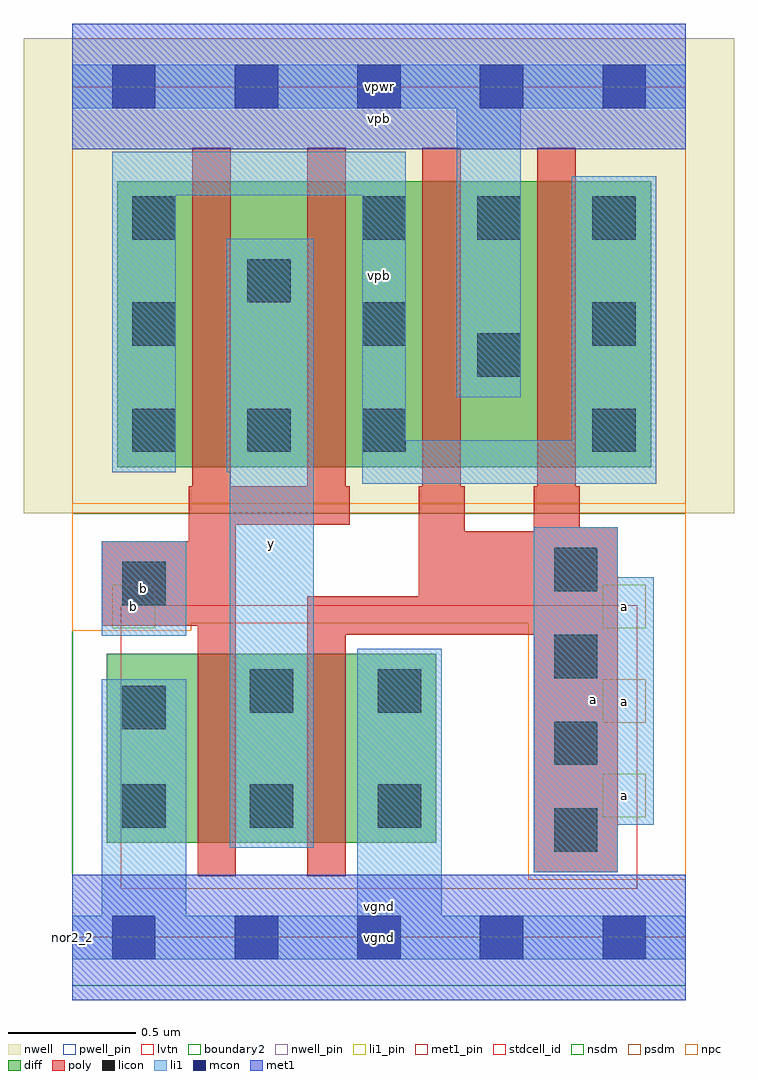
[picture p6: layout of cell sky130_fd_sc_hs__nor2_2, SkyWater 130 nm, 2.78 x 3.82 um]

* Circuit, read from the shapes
.subckt sky130_fd_sc_hs__nor2_2 a b vgnd vnb vpb vpwr y
XM1 y b vgnd vnb sky130_fd_pr__nfet_01v8_lvt w=0.74 l=0.15
XM2 vgnd a y vnb sky130_fd_pr__nfet_01v8_lvt w=0.74 l=0.15
XM3 y b n1 vpb sky130_fd_pr__pfet_01v8 w=1.12 l=0.15 m=2
XM4 vpwr a n1 vpb sky130_fd_pr__pfet_01v8 w=1.12 l=0.15 m=2
.ends

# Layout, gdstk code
import gdstk
lib = gdstk.Library(unit=1e-6, precision=1e-09)
def R(c, l, rs):  # rectangles x0, y0, x1, y1
    for r in rs: c.add(gdstk.rectangle(r[:2], r[2:], *l))
def A(c, l, x, y, w, h, nx, ny, dx, dy):  # array of equal rectangles
    R(c, l, [(x+i*dx, y+j*dy, x+i*dx+w, y+j*dy+h) for i in range(nx) for j in range(ny)])
def P(c, l, *ps):  # polygons
    for p in ps: c.add(gdstk.Polygon(p, *l))
nwell_pin = (64, 16)
nwell = (64, 20)
diff = (65, 20)
poly = (66, 20)
licon = (66, 44)
li1_pin = (67, 16)
li1 = (67, 20)
mcon = (67, 44)
met1_pin = (68, 16)
met1 = (68, 20)
stdcell_id = (81, 4)
nsdm = (93, 44)
psdm = (94, 20)
npc = (95, 20)
pwell_pin = (122, 16)
lvtn = (125, 44)
boundary2 = (236, 0)

sky130_fd_sc_hs__nor2_2 = lib.new_cell('sky130_fd_sc_hs__nor2_2')
R(sky130_fd_sc_hs__nor2_2, nwell_pin, [(0,3.085,2.4,3.33)])
R(sky130_fd_sc_hs__nor2_2, nwell, [(-0.19,1.66,2.59,3.52)])
R(sky130_fd_sc_hs__nor2_2, diff, [(0.135,0.37,1.425,1.11), (0.175,1.84,2.265,2.96)])
P(sky130_fd_sc_hs__nor2_2, poly, [(0.92,0.24),(0.92,1.335),(1.355,1.335),(1.355,1.765),(1.37,1.765),(1.37,3.09),(1.52,3.09),(1.52,1.765),(1.535,1.765),(1.535,1.59),(1.805,1.59),(1.805,1.765),(1.82,1.765),(1.82,3.09),(1.97,3.09),(1.97,1.765),(1.985,1.765),(1.985,1.605),(2.135,1.605),(2.135,0.255),(1.805,0.255),(1.805,1.185),(1.07,1.185),(1.07,0.24)],
  [(0.49,0.24),(0.49,1.22),(0.115,1.22),(0.115,1.55),(0.455,1.55),(0.455,1.765),(0.47,1.765),(0.47,3.09),(0.62,3.09),(0.62,1.765),(0.92,1.765),(0.92,3.09),(1.07,3.09),(1.07,1.765),(1.085,1.765),(1.085,1.615),(0.64,1.615),(0.64,0.24)])
A(sky130_fd_sc_hs__nor2_2, licon, 1.885, 0.335, 0.17, 0.17, 1, 4, 0, 0.34)
A(sky130_fd_sc_hs__nor2_2, licon, 0.195, 0.43, 0.17, 0.17, 3, 1, 0.5, 0)
A(sky130_fd_sc_hs__nor2_2, licon, 0.235, 1.9, 0.17, 0.17, 3, 1, 0.45, 0)
A(sky130_fd_sc_hs__nor2_2, licon, 0.235, 2.315, 0.17, 0.17, 3, 1, 0.9, 0)
A(sky130_fd_sc_hs__nor2_2, licon, 1.135, 2.73, 0.17, 0.17, 3, 1, 0.45, 0)
R(sky130_fd_sc_hs__nor2_2, licon, [(0.195,0.815,0.365,0.985), (0.695,0.88,0.865,1.05), (1.195,0.88,1.365,1.05), (0.195,1.3,0.365,1.47), (2.035,1.9,2.205,2.07), (1.585,2.195,1.755,2.365), (0.685,2.485,0.855,2.655), (0.235,2.73,0.405,2.9)])
A(sky130_fd_sc_hs__nor2_2, li1_pin, 2.075, 0.47, 0.17, 0.17, 1, 3, 0, 0.37)
R(sky130_fd_sc_hs__nor2_2, li1_pin, [(0.615,0.35,0.945,2.735), (0.155,1.21,0.325,1.38)])
R(sky130_fd_sc_hs__nor2_2, li1, [(0.115,1.18,0.445,1.55)])
P(sky130_fd_sc_hs__nor2_2, li1, [(0,-0.085),(0,0.085),(0.115,0.085),(0.115,1.01),(0.445,1.01),(0.445,0.085),(1.115,0.085),(1.115,1.13),(1.445,1.13),(1.445,0.085),(2.4,0.085),(2.4,-0.085)],
  [(1.505,2.115),(1.505,3.245),(0,3.245),(0,3.415),(2.4,3.415),(2.4,3.245),(1.755,3.245),(1.755,2.115)],
  [(0.615,0.35),(0.615,1.82),(0.605,1.82),(0.605,2.735),(0.945,2.735),(0.945,0.35)],
  [(1.805,0.255),(1.805,1.605),(2.135,1.605),(2.135,1.41),(2.275,1.41),(2.275,0.44),(2.135,0.44),(2.135,0.255)],
  [(1.135,1.775),(1.135,2.905),(0.405,2.905),(0.405,1.82),(0.155,1.82),(0.155,3.075),(1.305,3.075),(1.305,1.945),(1.955,1.945),(1.955,2.98),(2.285,2.98),(2.285,1.775)])
A(sky130_fd_sc_hs__nor2_2, mcon, 0.155, -0.085, 0.17, 0.17, 5, 2, 0.48, 3.33)
R(sky130_fd_sc_hs__nor2_2, met1_pin, [(0,0,2.4,0.245), (0,3.085,2.4,3.33)])
R(sky130_fd_sc_hs__nor2_2, met1, [(0,-0.245,2.4,0.245), (0,3.085,2.4,3.575)])
R(sky130_fd_sc_hs__nor2_2, stdcell_id, [(0,0,2.4,3.33)])
R(sky130_fd_sc_hs__nor2_2, nsdm, [(0,-0.19,2.4,1.66)])
R(sky130_fd_sc_hs__nor2_2, psdm, [(0,1.66,2.4,3.52)])
P(sky130_fd_sc_hs__nor2_2, npc, [(1.785,0.225),(1.785,1.23),(0.465,1.23),(0.465,1.2),(0,1.2),(0,1.7),(2.4,1.7),(2.4,0.225)])
R(sky130_fd_sc_hs__nor2_2, pwell_pin, [(0,0,2.4,0.245)])
R(sky130_fd_sc_hs__nor2_2, lvtn, [(0.19,0.19,2.21,1.3)])
R(sky130_fd_sc_hs__nor2_2, boundary2, [(0,0,2.4,3.33)])
sky130_fd_sc_hs__nor2_2.add(gdstk.Label('vpb', (1.2,3.207), layer=64, texttype=16))
sky130_fd_sc_hs__nor2_2.add(gdstk.Label('vpb', (1.2,2.59), layer=64, texttype=16))
sky130_fd_sc_hs__nor2_2.add(gdstk.Label('vpwr', (1.2,3.207), layer=68, texttype=16))
sky130_fd_sc_hs__nor2_2.add(gdstk.Label('vgnd', (1.2,0.122), layer=68, texttype=16))
sky130_fd_sc_hs__nor2_2.add(gdstk.Label('vgnd', (1.2,0), layer=68, texttype=16))
sky130_fd_sc_hs__nor2_2.add(gdstk.Label('vpwr', (1.2,3.33), layer=68, texttype=16))
sky130_fd_sc_hs__nor2_2.add(gdstk.Label('b', (0.24,1.295), layer=67, texttype=16))
sky130_fd_sc_hs__nor2_2.add(gdstk.Label('y', (0.78,1.542), layer=67, texttype=16))
sky130_fd_sc_hs__nor2_2.add(gdstk.Label('a', (2.16,0.555), layer=67, texttype=16))
sky130_fd_sc_hs__nor2_2.add(gdstk.Label('a', (2.16,0.925), layer=67, texttype=16))
sky130_fd_sc_hs__nor2_2.add(gdstk.Label('a', (2.16,1.295), layer=67, texttype=16))
sky130_fd_sc_hs__nor2_2.add(gdstk.Label('y', (0.775,1.542), layer=67, texttype=16))
sky130_fd_sc_hs__nor2_2.add(gdstk.Label('a', (2.04,0.93), layer=67, texttype=16))
sky130_fd_sc_hs__nor2_2.add(gdstk.Label('b', (0.28,1.365), layer=67, texttype=16))
sky130_fd_sc_hs__nor2_2.add(gdstk.Label('nor2_2', (0,0), layer=83, texttype=44))
sky130_fd_sc_hs__nor2_2.add(gdstk.Label('vnb', (1.2,0.123), layer=64, texttype=59))

lib.write_gds('sky130_fd_sc_hs__nor2_2.gds')
